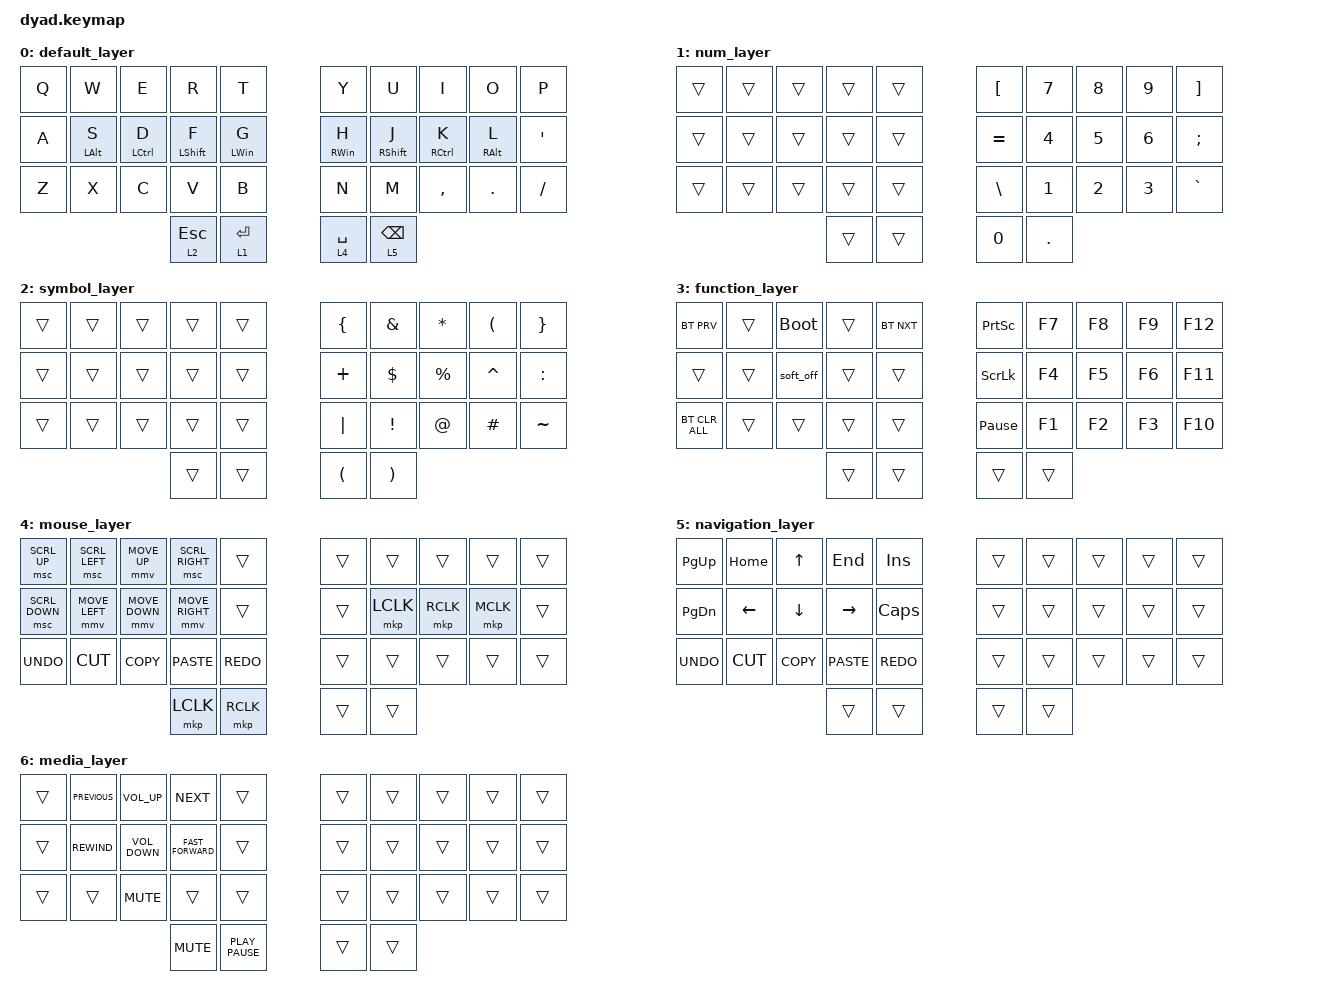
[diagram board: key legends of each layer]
#define ZMK_POINTING_DEFAULT_MOVE_VAL 1200  // default: 600
#define ZMK_POINTING_DEFAULT_SCRL_VAL 20    // default: 10

#include <behaviors.dtsi>
#include <dt-bindings/zmk/bt.h>
#include <dt-bindings/zmk/keys.h>
#include <dt-bindings/zmk/pointing.h>
#include <dt-bindings/zmk/mouse.h>
#include <dt-bindings/zmk/outputs.h>


&mt {
    tapping-term-ms = <120>;
    flavor = "tap-preferred";
};

/ {
    combos {
        compatible = "zmk,combos";

        delete_combo2 {
            bindings = <&kp DELETE>;
            key-positions = <9 19>;
            layers = <0>;
        };

        minus_combo {
            bindings = <&kp MINUS>;
            key-positions = <32 33>;
            layers = <1>;
        };

        undo_combo {
            bindings = <&Win_Undo>;
            key-positions = <20 21>;
            layers = <1>;
        };

        tab_combo {
            bindings = <&lt 3 TAB>;
            key-positions = <30 31>;
            layers = <0>;
        };

        escape_combo {
            bindings = <&kp ESC>;
            key-positions = <0 10>;
            layers = <0>;
        };

        delete_comb {
            bindings = <&lt 6 DELETE>;
            key-positions = <33 32>;
            layers = <0>;
        };

        tab2_combo {
            bindings = <&kp TAB>;
            key-positions = <10 11>;
        };

        copy_combo {
            bindings = <&Win_Copy>;
            key-positions = <22 23>;
        };

        paste_combo {
            bindings = <&Win_Paste>;
            key-positions = <23 24>;
        };

        cut_combo {
            bindings = <&Win_Cut>;
            key-positions = <21 22>;
        };

        F5_combo {
            bindings = <&kp F5>;
            key-positions = <17 7>;
        };

        prtscn_combo {
            bindings = <&kp PRINTSCREEN>;
            key-positions = <15 5>;
        };

        underscore_combo {
            bindings = <&kp UNDERSCORE>;
            key-positions = <32 33>;
            layers = <2>;
        };

        middle_click_combo {
            bindings = <&mkp MCLK>;
            key-positions = <30 31>;
            layers = <4>;
        };

        pin_combo {
            bindings = <&pin_macro>;
            key-positions = <30 33 31 32>;
        };

        battery_combo {
            bindings = <&battery_macro>;
            key-positions = <5 9>;
        };
    };

    macros {
        pin_macro: pin_macro {
            compatible = "zmk,behavior-macro";
            #binding-cells = <0>;
            bindings = <&kp N5 &kp NUMBER_6 &kp N7 &kp N8 &kp N9 &kp N0 &kp ENTER>;
            label = "PIN_MACRO";
        };

        battery_macro: battery_macro {

            compatible = "zmk,behavior-macro";
            #binding-cells = <0>;
            label = "BATTERY_MACRO";

            uint8_t battery_level = zmk_battery_state_of_charge();
            int retry = 0;
            while (battery_level == 0 && retry++ < 10) {
                k_sleep(K_MSEC(100));
                battery_level = zmk_battery_state_of_charge();
            };

            if (battery_level < 25) {
                bindings = <&kp N0 &kp 0>;
            } elseif (battery_level >= 75) {
                bindings = <&kp N7 &kp N5>;
            } elseif (battery_level >= 50) {
                bindings = <&kp N5 &kp N0>;
            } else {
                bindings = <&kp N2 &kp N5>;
            }

        };

        Win_Cut: Windows_Cut {
          compatible = "zmk,behavior-macro";
          #binding-cells = <0>;
          bindings = <&kp LC(X)>;
          display-name = "Windows Cut";
        };

        Win_Copy: Windows_Copy {
          compatible = "zmk,behavior-macro";
          #binding-cells = <0>;
          bindings = <&kp LC(C)>;
          display-name = "Windows Copy";
        };

        Win_Paste: Windows_Paste {
          compatible = "zmk,behavior-macro";
          #binding-cells = <0>;
          bindings = <&kp LC(V)>;
          display-name = "Windows Paste";
        };

        Win_Undo: Windows_Undo {
          compatible = "zmk,behavior-macro";
          #binding-cells = <0>;
          bindings = <&kp LC(Z)>;
          display-name = "Windows Undo";
        };
    };

    keymap {
        compatible = "zmk,keymap";

        default_layer {
            // -----------------------------------------------------------------------------------------
            // |  TAB |  Q  |  W  |  E  |  R  |  T  |   |  Y  |  U   |  I  |  O  |  P  | BSPC |
            // | CTRL |  A  |  S  |  D  |  F  |  G  |   |  H  |  J   |  K  |  L  |  ;  |  '   |
            // | SHFT |  Z  |  X  |  C  |  V  |  B  |   |  N  |  M   |  ,  |  .  |  /  | ESC  |
            //                    | GUI | LWR | SPC |   | ENT | RSE  | ALT |

            bindings = <
&kp Q  &kp W           &kp E               &kp R             &kp T             &kp Y            &kp U              &kp I                &kp O            &kp P
&kp A  &mt LEFT_ALT S  &mt LEFT_CONTROL D  &mt LEFT_SHIFT F  &mt LEFT_WIN G    &mt RIGHT_WIN H  &mt RIGHT_SHIFT J  &mt RIGHT_CONTROL K  &mt RIGHT_ALT L  &kp APOS
&kp Z  &kp X           &kp C               &kp V             &kp B             &kp N            &kp M              &kp COMMA            &kp PERIOD       &kp SLASH
                                           &lt 2 ESC         &lt 1 ENTER       &lt 4 SPACE      &lt 5 BACKSPACE
            >;
        };

        num_layer {
            // -----------------------------------------------------------------------------------------
            // |  TAB |  1  |  2  |  3  |  4  |  5  |   |  6  |  7  |  8  |  9  |  0  | BSPC |
            // | BTCLR| BT1 | BT2 | BT3 | BT4 | BT5 |   | LFT | DWN |  UP | RGT |     |      |
            // | SHFT |     |     |     |     |     |   |     |     |     |     |     |      |
            //                    | GUI |     | SPC |   | ENT |     | ALT |

            bindings = <
&trans  &trans  &trans  &trans  &trans    &kp LEFT_BRACKET  &kp N7        &kp N8        &kp N9        &kp RIGHT_BRACKET
&trans  &trans  &trans  &trans  &trans    &kp EQUAL         &kp NUMBER_4  &kp N5        &kp NUMBER_6  &kp SEMICOLON
&trans  &trans  &trans  &trans  &trans    &kp BACKSLASH     &kp NUMBER_1  &kp NUMBER_2  &kp NUMBER_3  &kp GRAVE
                        &trans  &trans    &kp N0            &kp PERIOD
            >;
        };

        symbol_layer {
            bindings = <
&trans  &trans  &trans  &trans  &trans    &kp LEFT_BRACE        &kp AMPERSAND          &kp ASTERISK  &kp LEFT_PARENTHESIS  &kp RIGHT_BRACE
&trans  &trans  &trans  &trans  &trans    &kp PLUS              &kp DOLLAR             &kp PERCENT   &kp CARET             &kp COLON
&trans  &trans  &trans  &trans  &trans    &kp PIPE              &kp EXCLAMATION        &kp AT_SIGN   &kp HASH              &kp TILDE
                        &trans  &trans    &kp LEFT_PARENTHESIS  &kp RIGHT_PARENTHESIS
            >;
        };

        function_layer {
            bindings = <
&bt BT_PRV      &trans  &bootloader  &trans  &bt BT_NXT    &kp PRINTSCREEN  &kp F7  &kp F8  &kp F9  &kp F12
&trans          &trans  &soft_off    &trans  &trans        &kp SCROLLLOCK   &kp F4  &kp F5  &kp F6  &kp F11
&bt BT_CLR_ALL  &trans  &trans       &trans  &trans        &kp PAUSE_BREAK  &kp F1  &kp F2  &kp F3  &kp F10
                                     &trans  &trans        &trans           &trans
            >;
        };

        mouse_layer {
            bindings = <
&msc SCRL_UP    &msc SCRL_LEFT  &mmv MOVE_UP    &msc SCRL_RIGHT  &trans        &trans  &trans     &trans     &trans     &trans
&msc SCRL_DOWN  &mmv MOVE_LEFT  &mmv MOVE_DOWN  &mmv MOVE_RIGHT  &trans        &trans  &mkp LCLK  &mkp RCLK  &mkp MCLK  &trans
&kp K_UNDO      &kp K_CUT       &kp K_COPY      &kp K_PASTE      &kp K_REDO    &trans  &trans     &trans     &trans     &trans
                                                &mkp LCLK        &mkp RCLK     &trans  &trans
            >;
        };

        navigation_layer {
            bindings = <
&kp PAGE_UP    &kp HOME        &kp UP_ARROW    &kp END      &kp INSERT      &trans  &trans  &trans  &trans  &trans
&kp PAGE_DOWN  &kp LEFT_ARROW  &kp DOWN_ARROW  &kp RIGHT    &kp CAPSLOCK    &trans  &trans  &trans  &trans  &trans
&kp K_UNDO     &kp K_CUT       &kp K_COPY      &kp K_PASTE  &kp K_REDO      &trans  &trans  &trans  &trans  &trans
                                               &trans       &trans          &trans  &trans
            >;
        };

        media_layer {
            bindings = <
&trans  &kp K_PREVIOUS  &kp C_VOLUME_UP    &kp K_NEXT          &trans              &trans  &trans  &trans  &trans  &trans
&trans  &kp C_REWIND    &kp C_VOLUME_DOWN  &kp C_FAST_FORWARD  &trans              &trans  &trans  &trans  &trans  &trans
&trans  &trans          &kp K_MUTE         &trans              &trans              &trans  &trans  &trans  &trans  &trans
                                           &kp K_MUTE          &kp K_PLAY_PAUSE    &trans  &trans
            >;
        };
    };
};
